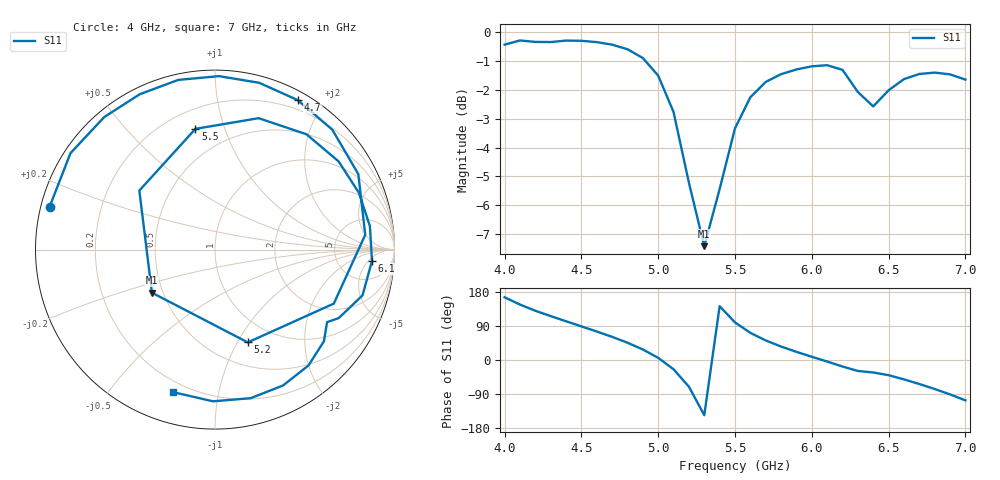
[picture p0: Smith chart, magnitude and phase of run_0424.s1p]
! Touchstone file exported from HFSS 2024.2.0
!  File:  C:/Users/wsak9/Desktop/Sim Fast/Widenad Patch/WP_AI_V1_sweep.aedt
!  Generated:  09:22:45 AM Oct 14, 2026
!  Design:  A1_model
!  Project:  WP_AI_V1_sweep
!  Setup:  Setup1
!  Solution:  Sweep
! Variables:
!  Air_gap = 2.49mm
!  Curve_Amp1 = 3.78
!  Curve_len1 = 1
!  Curve_pos = 9.665mm
!  Extra = 3.46mm
!  H_sub = 0.79mm
!  L_Patch = 15.33mm
!  L_Patch1 = 17.69mm
!  Sx = 3.39mm
!  Sy = 4.92mm
!  WS = 0.32mm
!  W_Patch = 22.08mm
!  W_Patch1 = 14.23mm
!Data is not renormalized
# GHz S MA
! Terminal data exported
! Port[1] = 1
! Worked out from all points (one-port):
!   31 points, 4 GHz to 7 GHz, reference per port
!   lowest |S11| = -7.4 dB at 5.3 GHz (marker M1), VSWR 2.48
!   |S11| at or under -10 dB: nowhere
!   S11 on the Smith chart (normalised r, x): 4 GHz: 0.03, +0.13; 4.7 GHz: 0.10, +1.69; 5.2 GHz: 0.75, -1.11; 5.5 GHz: 0.32, +0.80; 6.1 GHz: 12, -6; 7 GHz: 0.15, -0.74
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4  0.9519 165.5
4.1  0.968 146.3
4.2  0.9624 129.9
4.4  0.9674 102.2
4.5  0.9667 88.7
4.6  0.9615 75.2
4.7  0.9518 61.0
4.8  0.9346 45.6
4.9  0.9024 27.8
5  0.8411 5.6
5.1  0.7271 -24.4
5.2  0.5483 -70.5
5.3  0.4256 -145.7
5.4  0.5347 142.0
5.5  0.6815 99.2
5.6  0.7715 71.6
5.7  0.8202 51.6
5.8  0.846 35.5
5.9  0.8621 21.5
6.1  0.8769 -4.1
6.2  0.8606 -17.2
6.3  0.7879 -29.0
6.4  0.7437 -32.9
6.5  0.7932 -40.1
6.6  0.8294 -51.1
6.7  0.8466 -63.4
6.9  0.8454 -90.8
7  0.8279 -106.5
